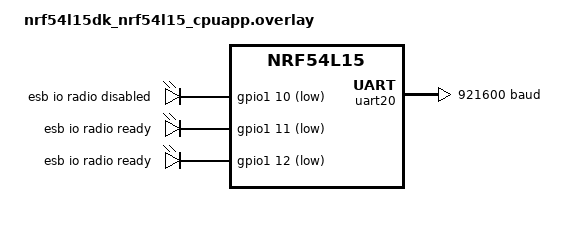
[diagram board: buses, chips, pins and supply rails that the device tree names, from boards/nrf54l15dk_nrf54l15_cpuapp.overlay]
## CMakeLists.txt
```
#
# Copyright (c) 2018 Nordic Semiconductor
#
# SPDX-License-Identifier: LicenseRef-Nordic-5-Clause
#
cmake_minimum_required(VERSION 3.20.0)

find_package(Zephyr REQUIRED HINTS $ENV{ZEPHYR_BASE})
project(esb_ptx)

FILE(GLOB app_sources src/*.c)
# NORDIC SDK APP START
target_sources(app PRIVATE ${app_sources})
# NORDIC SDK APP END
```

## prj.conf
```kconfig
#
# Copyright (c) 2019 Nordic Semiconductor ASA
#
# SPDX-License-Identifier: LicenseRef-Nordic-5-Clause
#
CONFIG_NCS_SAMPLES_DEFAULTS=y
CONFIG_ESB=y
CONFIG_DK_LIBRARY=y
CONFIG_CLOCK_CONTROL=y

CONFIG_ESB_MAX_PAYLOAD_LENGTH=72
CONFIG_ESB_FAST_SWITCHING=y
CONFIG_ESB_FAST_CHANNEL_SWITCHING=y
# CONFIG_ESB_NEVER_DISABLE_TX=y
# CONFIG_NRFX_DPPI10=y

# CONFIG_FLASH=y
# CONFIG_FLASH_MAP=y
# CONFIG_FLASH_LOAD_OFFSET=0x10000
# CONFIG_SPI=y

# 低频时钟：使用内部 RC，而不是外部 32.768 kHz 晶振
CONFIG_CLOCK_CONTROL_NRF_K32SRC_RC=y
CONFIG_CLOCK_CONTROL_NRF_K32SRC_XTAL=n
CONFIG_CLOCK_CONTROL_NRF_K32SRC_SYNTH=n
# 根据需求选择 RC 精度和校准策略（可选，但推荐）
CONFIG_CLOCK_CONTROL_NRF_K32SRC_500PPM=y
CONFIG_CLOCK_CONTROL_NRF_K32SRC_RC_CALIBRATION=y
CONFIG_CLOCK_CONTROL_NRF_CALIBRATION_LF_ALWAYS_ON=y
```

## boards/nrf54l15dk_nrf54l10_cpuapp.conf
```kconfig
#
# Copyright (c) 2025 Nordic Semiconductor
#
# SPDX-License-Identifier: LicenseRef-Nordic-5-Clause
#

# Enable DPPI driver
# CONFIG_NRFX_DPPI10=y
```

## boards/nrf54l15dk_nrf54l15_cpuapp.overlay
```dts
/*
 * Copyright (c) 2024 Nordic Semiconductor ASA
 *
 * SPDX-License-Identifier: LicenseRef-Nordic-5-Clause
 */
/delete-node/ &boot_partition;
/delete-node/ &slot0_partition;
/delete-node/ &slot1_partition;
/delete-node/ &storage_partition;
 / {	
	esb_gpio {
		compatible = "gpio-leds";
		esb_io_radio_disabled: esb-io-radio-disabled {
			gpios = <&gpio1 10 GPIO_ACTIVE_LOW>;
			label = "esb io radio disabled";
		};
		esb_io_radio_rx: esb-io-radio-rx {
			gpios = <&gpio1 11 GPIO_ACTIVE_LOW>;
			label = "esb io radio ready";
		};
		esb_io_radio_tx: esb-io-radio-tx {
			gpios = <&gpio1 12 GPIO_ACTIVE_LOW>;
			label = "esb io radio ready";
		};
	};
};

&cpuapp_rram {
	reg = <0x0 DT_SIZE_K(1524)>;
	partitions {
		compatible = "fixed-partitions";
		#address-cells = <1>;
		#size-cells = <1>;
		boot_partition: partition@0 {
			label = "mcuboot";
			reg = <0x0 0x10000>;
		};
		/* 
		slot0_partition: partition@10000 {
			label = "image-0";
			reg = <0x10000 0x160000>;
		};
		*/
		slot0_partition: partition@10000 {
			label = "image-0";
			reg = <0x10000 0x68000>;
		};
		
		/* 52k from 0x170000 to 0x17cfff reserved for TF-M partitions */
		/* 
		storage_partition: partition@170000 {
			label = "storage";
			reg = <0x170000 0x2000>;
		};
		*/
		storage_partition: partition@78000 {
			label = "storage";
			reg = <0x78000 0x2000>;
		};
	};
};

&pinctrl {
	spi00_default: spi00_default {
		group1 {
			psels = <NRF_PSEL(SPIM_SCK, 2, 1)>,
				<NRF_PSEL(SPIM_MOSI, 2, 2)>,
				<NRF_PSEL(SPIM_MISO, 2, 4)>;
		};
	};

	spi00_sleep: spi00_sleep {
		group1 {
			psels = <NRF_PSEL(SPIM_SCK, 2, 1)>,
				<NRF_PSEL(SPIM_MOSI, 2, 2)>,
				<NRF_PSEL(SPIM_MISO, 2, 4)>;
				low-power-enable;
		};
	};

	spi21_default_alt: spi21_default_alt {
		group1 {
			psels = <NRF_PSEL(SPIM_SCK, 2, 6)>,
					<NRF_PSEL(SPIM_MISO, 2, 9)>,
					<NRF_PSEL(SPIM_MOSI, 2, 8)>;
		};
	};

	spi21_sleep_alt: spi21_sleep_alt {
		group1 {
			psels = <NRF_PSEL(SPIM_SCK, 2, 6)>,
					<NRF_PSEL(SPIM_MISO, 2, 9)>,
					<NRF_PSEL(SPIM_MOSI, 2, 8)>;
			low-power-enable;
		};
	};

};

&spi00 {
	// status = "okay";
	status = "disabled";
	cs-gpios = <&gpio2 5 GPIO_ACTIVE_LOW>;
	pinctrl-0 = <&spi00_default>;
	pinctrl-1 = <&spi00_sleep>;
	pinctrl-names = "default", "sleep";

	mx25r64: mx25r6435f@0 {
		status = "disabled";
	};
};

&spi21 {
	// status = "okay";
	status = "disabled";
	cs-gpios = <&gpio2 10 GPIO_ACTIVE_LOW>;
	pinctrl-0 = <&spi21_default_alt>;
	pinctrl-1 = <&spi21_sleep_alt>;
	pinctrl-names = "default", "sleep";
	max-frequency = <DT_FREQ_M(8)>;
};

&led0 {
	status = "disabled";
};

&led1 {
	status = "disabled";
};

&led2 {
	status = "disabled";
};

&led3 {
	status = "disabled";
};

&button0 {
	status = "disabled";
};

&button1 {
	status = "disabled";
};

&button2 {
	status = "disabled";
};

&button3 {
	status = "disabled";
};

&pwm20 {
	status = "disabled";
};

&pwm_led1 {
	status = "disabled";
};

&uart20 {
	// status = "disabled";
	current-speed = <921600>;
};
&uart20_default {
	group1 {
		psels = <NRF_PSEL(UART_TX, 1, 4)>;
	};
};

&uart20_sleep {
	group1 {
		psels = <NRF_PSEL(UART_TX, 1, 4)>;
	};
};
/delete-node/ &{/pin-controller/uart20_default/group2/};

&lfxo {
    status = "disabled";
};

&hfxo {
	// //128M
	// clock-frequency = < 0x1e84800 >;
    // /* 选择使用内部电容阵列 */
    // load-capacitors = "internal";
    // /* 调整内部电容驱动强度值，例如 15500 fF (即15.5pF) */
    // load-capacitance-femtofarad = <15500>;
    // 使用外部电容
    // load-capacitors = "external";//开发板子使用外部广播都搜不到
};
```

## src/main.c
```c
/*
 * Copyright (c) 2018 Nordic Semiconductor ASA
 *
 * SPDX-License-Identifier: LicenseRef-Nordic-5-Clause
 */
#include <zephyr/drivers/clock_control.h>
#include <zephyr/drivers/clock_control/nrf_clock_control.h>
#include <zephyr/drivers/gpio.h>
#include <zephyr/irq.h>
#include <zephyr/logging/log.h>
#include <nrf.h>
// #include <nrfx.h>
#include <esb.h>
#include <zephyr/device.h>
#include <zephyr/devicetree.h>
#include <zephyr/kernel.h>
#include <zephyr/types.h>
#include <dk_buttons_and_leds.h>
#if defined(CONFIG_CLOCK_CONTROL_NRF2)
#include <hal/nrf_lrcconf.h>
#endif
#include <nrf_erratas.h>
#if NRF54L_ERRATA_20_PRESENT
#include <hal/nrf_power.h>
#endif /* NRF54L_ERRATA_20_PRESENT */
#if defined(NRF54LM20A_ENGA_XXAA)
#include <hal/nrf_clock.h>
#endif /* defined(NRF54LM20A_ENGA_XXAA) */

LOG_MODULE_REGISTER(esb_ptx, CONFIG_ESB_PTX_APP_LOG_LEVEL);

static bool ready = true;
static struct esb_payload rx_payload;
static struct esb_payload tx_payload = ESB_CREATE_PAYLOAD(0,
	0x01, 0x00, 0x03, 0x04, 0x05, 0x06, 0x07, 0x08);

#define _RADIO_SHORTS_COMMON                                                   \
	(RADIO_SHORTS_READY_START_Msk | RADIO_SHORTS_END_DISABLE_Msk |         \
	 RADIO_SHORTS_ADDRESS_RSSISTART_Msk |                                  \
	 RADIO_SHORTS_DISABLED_RSSISTOP_Msk)

void event_handler(struct esb_evt const *event)
{
	ready = true;

	switch (event->evt_id) {
	case ESB_EVENT_TX_SUCCESS:
		// LOG_DBG("TX SUCCESS EVENT");
		break;
	case ESB_EVENT_TX_FAILED:
		// LOG_DBG("TX FAILED EVENT");
		break;
	case ESB_EVENT_RX_RECEIVED:
		while (esb_read_rx_payload(&rx_payload) == 0) {
			LOG_DBG("Packet received, len %d : "
				"0x%02x, 0x%02x, 0x%02x, 0x%02x, "
				"0x%02x, 0x%02x, 0x%02x, 0x%02x",
				rx_payload.length, rx_payload.data[0],
				rx_payload.data[1], rx_payload.data[2],
				rx_payload.data[3], rx_payload.data[4],
				rx_payload.data[5], rx_payload.data[6],
				rx_payload.data[7]);
		}
		break;
	}
}

#if defined(CONFIG_CLOCK_CONTROL_NRF)
int clocks_start(void)
{
	int err;
	int res;
	struct onoff_manager *clk_mgr;
	struct onoff_client clk_cli;

	clk_mgr = z_nrf_clock_control_get_onoff(CLOCK_CONTROL_NRF_SUBSYS_HF);
	if (!clk_mgr) {
		LOG_ERR("Unable to get the Clock manager");
		return -ENXIO;
	}

	sys_notify_init_spinwait(&clk_cli.notify);

	err = onoff_request(clk_mgr, &clk_cli);
	if (err < 0) {
		LOG_ERR("Clock request failed: %d", err);
		return err;
	}

	do {
		err = sys_notify_fetch_result(&clk_cli.notify, &res);
		if (!err && res) {
			LOG_ERR("Clock could not be started: %d", res);
			return res;
		}
	} while (err);

#if NRF54L_ERRATA_20_PRESENT
	if (nrf54l_errata_20()) {
		nrf_power_task_trigger(NRF_POWER, NRF_POWER_TASK_CONSTLAT);
	}
#endif /* NRF54L_ERRATA_20_PRESENT */

#if defined(NRF54LM20A_ENGA_XXAA)
	/* MLTPAN-39 */
	nrf_clock_task_trigger(NRF_CLOCK, NRF_CLOCK_TASK_PLLSTART);
#endif

	LOG_DBG("HF clock started");
	return 0;
}

#elif defined(CONFIG_CLOCK_CONTROL_NRF2)

int clocks_start(void)
{
	int err;
	int res;
	const struct device *radio_clk_dev =
		DEVICE_DT_GET_OR_NULL(DT_CLOCKS_CTLR(DT_NODELABEL(radio)));
	struct onoff_client radio_cli;

	/** Keep radio domain powered all the time to reduce latency. */
	nrf_lrcconf_poweron_force_set(NRF_LRCCONF010, NRF_LRCCONF_POWER_DOMAIN_1, true);

	sys_notify_init_spinwait(&radio_cli.notify);

	err = nrf_clock_control_request(radio_clk_dev, NULL, &radio_cli);

	do {
		err = sys_notify_fetch_result(&radio_cli.notify, &res);
		if (!err && res) {
			LOG_ERR("Clock could not be started: %d", res);
			return res;
		}
	} while (err == -EAGAIN);

	nrf_lrcconf_clock_always_run_force_set(NRF_LRCCONF000, 0, true);
	nrf_lrcconf_task_trigger(NRF_LRCCONF000, NRF_LRCCONF_TASK_CLKSTART_0);

	LOG_DBG("HF clock started");
	return 0;
}

#else
BUILD_ASSERT(false, "No Clock Control driver");
#endif /* defined(CONFIG_CLOCK_CONTROL_NRF2) */

int esb_initialize(void)
{
	int err;
	/* These are arbitrary default addresses. In end user products
	 * different addresses should be used for each set of devices.
	 */
	uint8_t base_addr_0[4] = {0xE7, 0xE7, 0xE7, 0xE7};
	uint8_t base_addr_1[4] = {0xC2, 0xC2, 0xC2, 0xC2};
	uint8_t addr_prefix[8] = {0xE7, 0xC2, 0xC3, 0xC4, 0xC5, 0xC6, 0xC7, 0xC8};

	struct esb_config config = ESB_DEFAULT_CONFIG;

	config.protocol = ESB_PROTOCOL_ESB_DPL;
	config.retransmit_delay = 438;
	config.retransmit_count = 0;
	config.bitrate = ESB_BITRATE_4MBPS;
	config.event_handler = event_handler;
	config.mode = ESB_MODE_PTX;
	config.selective_auto_ack = true;
	config.crc = ESB_CRC_8BIT;

	if (IS_ENABLED(CONFIG_ESB_FAST_SWITCHING)) {
		config.use_fast_ramp_up = true;
	}

	err = esb_init(&config);

	if (err) {
		return err;
	}

	err = esb_set_base_address_0(base_addr_0);
	if (err) {
		return err;
	}

	err = esb_set_base_address_1(base_addr_1);
	if (err) {
		return err;
	}

	err = esb_set_prefixes(addr_prefix, ARRAY_SIZE(addr_prefix));
	if (err) {
		return err;
	}

	esb_set_tx_power(0);

	return 0;
}

static void leds_update(uint8_t value)
{
	uint32_t leds_mask =
		(!(value % 8 > 0 && value % 8 <= 4) ? DK_LED1_MSK : 0) |
		(!(value % 8 > 1 && value % 8 <= 5) ? DK_LED2_MSK : 0) |
		(!(value % 8 > 2 && value % 8 <= 6) ? DK_LED3_MSK : 0) |
		(!(value % 8 > 3) ? DK_LED4_MSK : 0);

	dk_set_leds(leds_mask);
}

#define APP_TIMER00           NRF_TIMER00//NRF_TIMER00_S
#define APP_TIMER20           NRF_TIMER20
#define APP_TIMER21           NRF_TIMER21
#define TIME_TO_WAIT_1MS      1
#define TIME_TO_WAIT_125US    125

#include <nrfx_timer.h>
#include <hal/nrf_timer.h>
#include <hal/nrf_dppi.h>
#include <hal/nrf_ppib.h>
#include <hal/nrf_gpio.h>
#include <hal/nrf_gpiote.h>
#define DEBUG_IO_ENABLE 				    1	
#if(DEBUG_IO_ENABLE)
#define G24_RF_IO_ENABLE                    1//需要关闭，调试2.4G rf时序的

#define DEBUG_IO1_PORT 						1							
#define DEBUG_IO1_PIN						10
#define DEBUG_IO1_PORT_PIN					((DEBUG_IO1_PORT<<5)|DEBUG_IO1_PIN)

#define DEBUG_IO2_PORT 						1						
#define DEBUG_IO2_PIN						11
#define DEBUG_IO2_PORT_PIN					((DEBUG_IO2_PORT<<5)|DEBUG_IO2_PIN)

#define DEBUG_IO3_PORT 						1						
#define DEBUG_IO3_PIN						12
#define DEBUG_IO3_PORT_PIN					((DEBUG_IO3_PORT<<5)|DEBUG_IO3_PIN)

#define DEBUG_IO4_PORT 						1						
#define DEBUG_IO4_PIN						13
#define DEBUG_IO4_PORT_PIN					((DEBUG_IO4_PORT<<5)|DEBUG_IO4_PIN)

#define DEBUG_IO5_PORT 						1						
#define DEBUG_IO5_PIN						14
#define DEBUG_IO5_PORT_PIN					((DEBUG_IO5_PORT<<5)|DEBUG_IO5_PIN)
#else
#define G24_RF_IO_ENABLE                    0//DEBUG_IO_ENABLE没有使能，不能使用
#endif

__ramfunc 
void timer20_irq_handler(void)
{
	// if (nrf_timer_int_enable_check(APP_TIMER20, NRF_TIMER_INT_COMPARE0_MASK)) 
	if(APP_TIMER20->INTENSET & NRF_TIMER_INT_COMPARE0_MASK)
    {
		nrf_timer_event_clear(APP_TIMER20, NRF_TIMER_EVENT_COMPARE0);
        // nrf_timer_task_trigger(APP_TIMER20, NRF_TIMER_TASK_CLEAR);//shortcut自动清掉了
		nrf_gpio_pin_toggle(DEBUG_IO4_PORT_PIN);
		if (ready) {
		nrf_gpio_pin_toggle(DEBUG_IO5_PORT_PIN);			
			ready = false;

// 			nrf_gpio_pin_write(DEBUG_IO5_PORT_PIN,1);
// nrf_gpio_pin_write(DEBUG_IO5_PORT_PIN,0);
			esb_flush_tx();
			// leds_update(tx_payload.data[1]);
			// NRFX_DELAY_US(20);
			esb_write_payload(&tx_payload);
			tx_payload.data[1]++;
		}
	}
}

void app_timer20_init(void)
{
    nrf_timer_mode_set(APP_TIMER20,NRF_TIMER_MODE_TIMER);
    nrf_timer_bit_width_set(APP_TIMER20,NRF_TIMER_BIT_WIDTH_32);

    uint32_t prescaler = nrf_timer_prescaler_get(APP_TIMER20);
    printk("timer20_prescaler=%d\n", prescaler);
    uint32_t freq_base_hz = NRF_TIMER_BASE_FREQUENCY_GET(APP_TIMER20);
    printk("time20_hz=%d\n", freq_base_hz);
    uint32_t freq_base_khz = freq_base_hz/1000000;//US
    uint32_t ticks = (((uint32_t)TIME_TO_WAIT_125US * freq_base_khz) >> prescaler);
    printk("time20_ticks=%d\n", ticks);

    nrf_timer_int_enable(APP_TIMER20,TIMER_INTENSET_COMPARE0_Msk);
    nrf_timer_task_trigger(APP_TIMER20, NRF_TIMER_TASK_CLEAR);
	nrf_timer_shorts_set(APP_TIMER20, NRF_TIMER_SHORT_COMPARE0_CLEAR_MASK);
    nrf_timer_cc_set(APP_TIMER20,NRF_TIMER_CC_CHANNEL0,ticks);

	printk("IRQ_PRIO_LOWEST=%ld\n",IRQ_PRIO_LOWEST);
	IRQ_DIRECT_CONNECT(TIMER20_IRQn, 3, timer20_irq_handler, 0);
	// IRQ_CONNECT(TIMER20_IRQn, 3, nrfx_isr, timer20_irq_handler, 0);
	irq_enable(TIMER20_IRQn);

    
    nrf_timer_task_trigger(APP_TIMER20, NRF_TIMER_TASK_START);
    // nrf_timer_task_trigger(APP_TIMER20, NRF_TIMER_TASK_CAPTURE0);
}


#if(DEBUG_IO_ENABLE && G24_RF_IO_ENABLE)
#include <hal/nrf_dppi.h>
#include <hal/nrf_ppib.h>
#include <hal/nrf_gpio.h>
#include <hal/nrf_gpiote.h>
#define NRF_GPIOTE_TEST  NRF_GPIOTE20
void app_g24_rf_io_init(void)
{
    // // 1. 初始化 GPIOTE
	// ret = nrf_gpiote_init();
    
    // 2. 配置 GPIO 输出
    // nrf_gpio_cfg_output(RADIO_INDICATOR_PIN);
    // nrf_gpio_pin_clear(RADIO_INDICATOR_PIN);
    
    // 3. 配置 GPIOTE 输出任务
	nrf_gpiote_task_configure(NRF_GPIOTE_TEST, 0, DEBUG_IO1_PORT_PIN,
							NRF_GPIOTE_POLARITY_TOGGLE,
							NRF_GPIOTE_INITIAL_VALUE_LOW);
	nrf_gpiote_task_configure(NRF_GPIOTE_TEST, 1, DEBUG_IO2_PORT_PIN,
							NRF_GPIOTE_POLARITY_TOGGLE,
							NRF_GPIOTE_INITIAL_VALUE_LOW);
	nrf_gpiote_task_configure(NRF_GPIOTE_TEST, 2, DEBUG_IO3_PORT_PIN,
							NRF_GPIOTE_POLARITY_TOGGLE,
							NRF_GPIOTE_INITIAL_VALUE_LOW);
    
    // 4. 启用 GPIOTE 输出任务
    nrf_gpiote_task_enable(NRF_GPIOTE_TEST, 0);
	nrf_gpiote_task_enable(NRF_GPIOTE_TEST, 1);
	nrf_gpiote_task_enable(NRF_GPIOTE_TEST, 2);

	/* Publish radio event */
	nrf_radio_publish_set(NRF_RADIO, NRF_RADIO_EVENT_TXREADY, 8);
	nrf_radio_publish_set(NRF_RADIO, NRF_RADIO_EVENT_END, 9);
	nrf_radio_publish_set(NRF_RADIO, NRF_RADIO_EVENT_RXREADY, 10);

	/* Enable same DPPI in Global domain */
	nrf_dppi_channels_enable(NRF_DPPIC10, BIT(8));
	nrf_dppi_channels_enable(NRF_DPPIC10, BIT(9));
	nrf_dppi_channels_enable(NRF_DPPIC10, BIT(10));

	/* Setup PPIB send subscribe */
	nrf_ppib_subscribe_set(NRF_PPIB11,NRF_PPIB_TASK_SEND_6,8);
	nrf_ppib_subscribe_set(NRF_PPIB11,NRF_PPIB_TASK_SEND_7,9);
	nrf_ppib_subscribe_set(NRF_PPIB11,NRF_PPIB_TASK_SEND_8,10);

	 /* Setup PPIB receive publish */
    nrf_ppib_publish_set(NRF_PPIB21, NRF_PPIB_EVENT_RECEIVE_6, 10);
	nrf_ppib_publish_set(NRF_PPIB21, NRF_PPIB_EVENT_RECEIVE_7, 11);
	nrf_ppib_publish_set(NRF_PPIB21, NRF_PPIB_EVENT_RECEIVE_8, 12);

	nrf_gpiote_subscribe_set(NRF_GPIOTE_TEST, NRF_GPIOTE_TASK_OUT_0, 10);
	nrf_gpiote_subscribe_set(NRF_GPIOTE_TEST, NRF_GPIOTE_TASK_OUT_1, 11);
	nrf_gpiote_subscribe_set(NRF_GPIOTE_TEST, NRF_GPIOTE_TASK_OUT_2, 12);

	nrf_dppi_channels_enable(NRF_DPPIC20, BIT(10));
	nrf_dppi_channels_enable(NRF_DPPIC20, BIT(11));
	nrf_dppi_channels_enable(NRF_DPPIC20, BIT(12));

	printk("G24_RF_IO_ENABLE!\n");
}
#endif

void app_gpio_initial(void)  // 
{	
#if(DEBUG_IO_ENABLE)
	nrf_gpio_cfg_output(DEBUG_IO1_PORT_PIN);
	nrf_gpio_pin_write(DEBUG_IO1_PORT_PIN,0);

	nrf_gpio_cfg_output(DEBUG_IO2_PORT_PIN);
	nrf_gpio_pin_write(DEBUG_IO2_PORT_PIN,0);

	nrf_gpio_cfg_output(DEBUG_IO3_PORT_PIN);
	nrf_gpio_pin_write(DEBUG_IO3_PORT_PIN,0);

	nrf_gpio_cfg_output(DEBUG_IO4_PORT_PIN);
	nrf_gpio_pin_write(DEBUG_IO4_PORT_PIN,0);

	nrf_gpio_cfg_output(DEBUG_IO5_PORT_PIN);
	nrf_gpio_pin_write(DEBUG_IO5_PORT_PIN,0);
app_g24_rf_io_init();
#endif 
}

int main(void)
{
	int err;

	LOG_INF("Enhanced ShockBurst ptx sample");

	err = clocks_start();
	if (err) {
		return 0;
	}

	// err = dk_leds_init();
	// if (err) {
	// 	LOG_ERR("LEDs initialization failed, err %d", err);
	// 	return 0;
	// }

	err = esb_initialize();
	if (err) {
		LOG_ERR("ESB initialization failed, err %d", err);
		return 0;
	}

	LOG_INF("Initialization complete");
	LOG_INF("Sending test packet");

	tx_payload.noack = false;
	app_gpio_initial();
	app_timer20_init();

	while (1) {
		// if (ready) {
		// 	ready = false;
		// 	esb_flush_tx();
		// leds_update(tx_payload.data[1]);

		// 	err = esb_write_payload(&tx_payload);
		// 	if (err) {
		// 		LOG_ERR("Payload write failed, err %d", err);
		// 	}
		// 	tx_payload.data[1]++;
		// }
		// k_sleep(K_MSEC(100));
		k_cpu_idle();
	}
}
```
